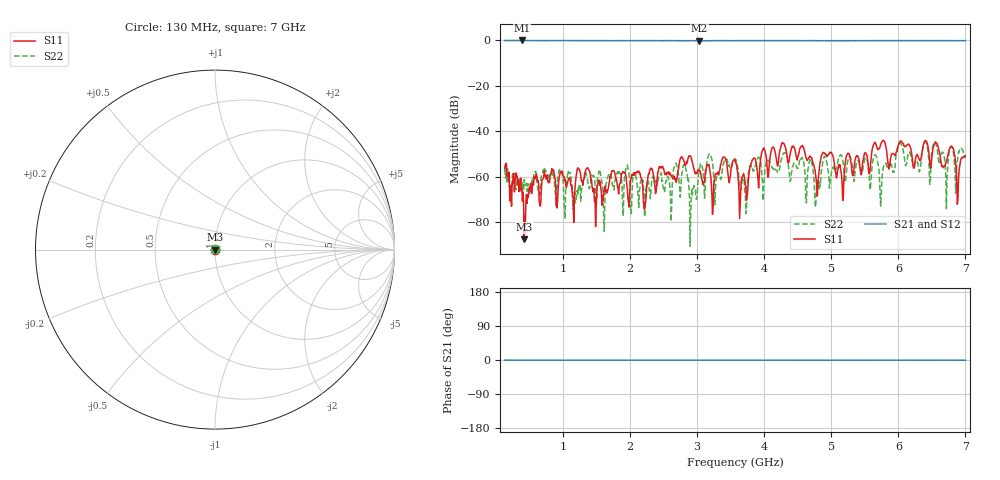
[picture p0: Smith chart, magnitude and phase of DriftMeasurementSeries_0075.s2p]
# Hz S RI R 50.000000
! Metas.Vna.Tools, 2.8.8664.20301
! Metas.Vna.Data, 2.8.8664.20285
! Created: UTC 2024.02.11 10:08:39
! FREQ  re:S1,1  im:S1,1  re:S2,1  im:S2,1  re:S1,2  im:S1,2  re:S2,2  im:S2,2
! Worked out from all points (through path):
!   801 points, 130 MHz to 7 GHz, reference 50 ohm
!   highest |S21| = 0.01 dB at 387.6 MHz (marker M1); lowest = -0.1 dB at 3.033 GHz (marker M2)
!   lowest |S11| = -87.4 dB at 422 MHz (marker M3), VSWR 1.00, Z = 50 - j6.38e-05 ohm
!   |S11| at or under -10 dB: start of sweep to end of sweep
!   |S22| runs from -90.4 to -44.4 dB; largest |S21 - S12| = 0.015
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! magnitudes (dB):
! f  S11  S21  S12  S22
! 130 MHz  -56.3  0.0  0.0  -56.7
! 387.6 MHz  -65.1  0.0  0.0  -63.8
! 422 MHz  -87.4  0.0  0.0  -61.1
! 1.281 GHz  -62.0  0.0  0.0  -64.6
! 2.114 GHz  -58.0  -0.1  0.0  -65.7
! 2.225 GHz  -71.7  -0.1  0.0  -74.7
! 2.423 GHz  -57.6  -0.1  0.0  -60.2
! 2.818 GHz  -54.9  -0.1  0.0  -54.3
! 2.912 GHz  -51.6  -0.1  0.0  -70.1
! 3.033 GHz  -57.2  -0.1  0.0  -56.8
! 3.565 GHz  -52.7  -0.1  0.0  -52.0
! 3.711 GHz  -61.3  -0.1  0.0  -66.6
! 3.909 GHz  -61.2  0.0  0.0  -51.3
! 4.278 GHz  -45.0  -0.1  0.0  -50.1
! 4.716 GHz  -52.5  -0.1  0.0  -54.6
! 4.784 GHz  -64.1  -0.1  0.0  -63.0
! 4.905 GHz  -49.6  -0.1  0.0  -51.0
! 5.162 GHz  -62.8  -0.1  0.0  -51.4
! 5.248 GHz  -49.6  -0.1  0.0  -52.7
! 5.858 GHz  -56.5  -0.1  0.0  -55.4
! 6.888 GHz  -69.8  -0.1  0.0  -51.3
! 7 GHz  -50.6  -0.1  0.0  -51.7
